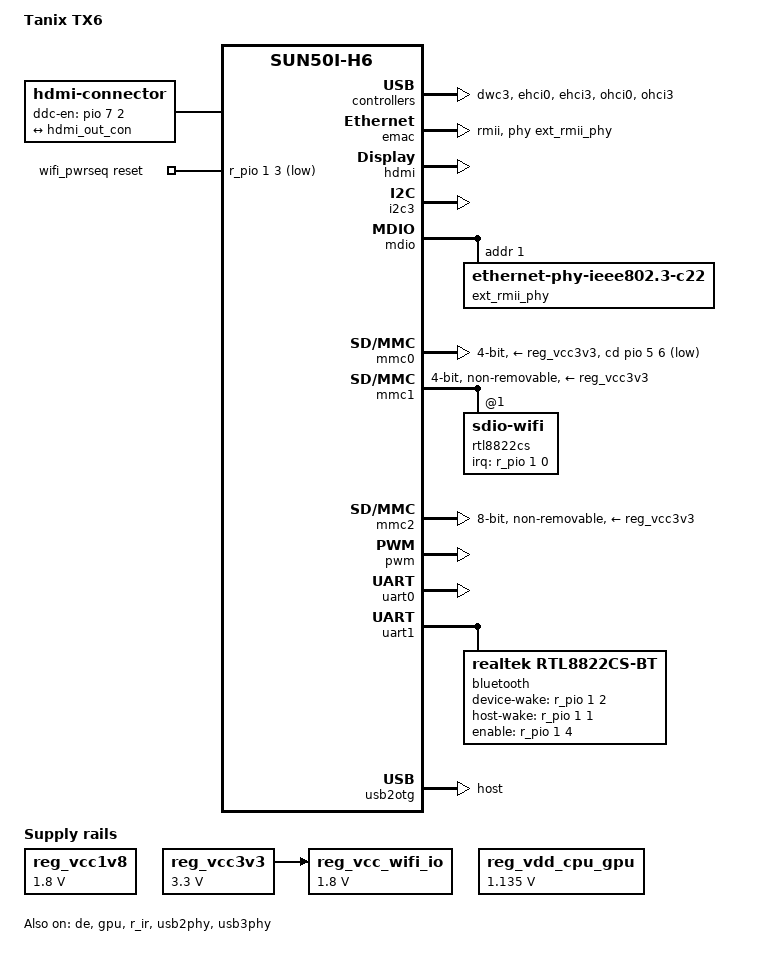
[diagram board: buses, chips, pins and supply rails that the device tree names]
// SPDX-License-Identifier: (GPL-2.0+ OR MIT)
// Copyright (c) 2019 Jernej Skrabec <jernej.skrabec@siol.net>

/dts-v1/;

#include "sun50i-h6.dtsi"
#include "sun50i-h6-cpu-opp.dtsi"

#include <dt-bindings/gpio/gpio.h>

/ {
	model = "Tanix TX6";
	compatible = "oranth,tanix-tx6", "allwinner,sun50i-h6";

	aliases {
		ethernet0 = &emac;
		serial0 = &uart0;
	};

	chosen {
		stdout-path = "serial0:115200n8";
	};

	connector {
		compatible = "hdmi-connector";
		ddc-en-gpios = <&pio 7 2 GPIO_ACTIVE_HIGH>; /* PH2 */
		type = "a";

		port {
			hdmi_con_in: endpoint {
				remote-endpoint = <&hdmi_out_con>;
			};
		};
	};

	reg_vcc1v8: regulator-vcc1v8 {
		compatible = "regulator-fixed";
		regulator-name = "vcc1v8";
		regulator-min-microvolt = <1800000>;
		regulator-max-microvolt = <1800000>;
	};

	reg_vcc3v3: regulator-vcc3v3 {
		compatible = "regulator-fixed";
		regulator-name = "vcc3v3";
		regulator-min-microvolt = <3300000>;
		regulator-max-microvolt = <3300000>;
	};

	reg_vcc_wifi_io: vcc-wifi-io {
		/* Always on 1.8V/300mA regulator for WiFi and BT IO */
		compatible = "regulator-fixed";
		regulator-name = "vcc-wifi-io";
		regulator-min-microvolt = <1800000>;
		regulator-max-microvolt = <1800000>;
		regulator-always-on;
		vin-supply = <&reg_vcc3v3>;
	};

	reg_vdd_cpu_gpu: regulator-vdd-cpu-gpu {
		compatible = "regulator-fixed";
		regulator-name = "vdd-cpu-gpu";
		regulator-min-microvolt = <1135000>;
		regulator-max-microvolt = <1135000>;
	};

	wifi_pwrseq: wifi-pwrseq {
		compatible = "mmc-pwrseq-simple";
		clocks = <&rtc 1>;
		clock-names = "ext_clock";
		reset-gpios = <&r_pio 1 3 GPIO_ACTIVE_LOW>; /* PM3 */
	};
};

&ac200_pwm_clk {
	status = "okay";
};

&cpu0 {
	cpu-supply = <&reg_vdd_cpu_gpu>;
};

&de {
	status = "okay";
};

&dwc3 {
	status = "okay";
};

&ehci0 {
	status = "okay";
};

&ehci3 {
	status = "okay";
};

&emac {
	pinctrl-names = "default";
	pinctrl-0 = <&ext_rmii_pins>;
	phy-mode = "rmii";
	phy-handle = <&ext_rmii_phy>;
	status = "okay";
};

&gpu {
	mali-supply = <&reg_vdd_cpu_gpu>;
	status = "okay";
};

&hdmi {
	status = "okay";
};

&hdmi_out {
	hdmi_out_con: endpoint {
		remote-endpoint = <&hdmi_con_in>;
	};
};

&i2c3 {
	status = "okay";
};

&mdio {
	ext_rmii_phy: ethernet-phy@1 {
		compatible = "ethernet-phy-ieee802.3-c22";
		reg = <1>;
	};
};

&mmc0 {
	pinctrl-names = "default";
	pinctrl-0 = <&mmc0_pins>;
	vmmc-supply = <&reg_vcc3v3>;
	cd-gpios = <&pio 5 6 GPIO_ACTIVE_LOW>;
	bus-width = <4>;
	status = "okay";
};

&mmc1 {
    vmmc-supply = <&reg_vcc3v3>;
    vqmmc-supply = <&reg_vcc_wifi_io>;
    mmc-pwrseq = <&wifi_pwrseq>;
    bus-width = <4>;
    non-removable;
    status = "okay";

    rtl8822cs: sdio-wifi@1 {
        reg = <1>;
        interrupt-parent = <&r_pio>;
        interrupts = <1 0 IRQ_TYPE_LEVEL_LOW>; /* PM0 */
        interrupt-names = "host-wake";
    };
};

&mmc2 {
	vmmc-supply = <&reg_vcc3v3>;
	vqmmc-supply = <&reg_vcc1v8>;
	bus-width = <8>;
	non-removable;
	cap-mmc-hw-reset;
	mmc-hs200-1_8v;
	status = "okay";
};

&ohci0 {
	status = "okay";
};

&ohci3 {
	status = "okay";
};

&pio {
	vcc-pc-supply = <&reg_vcc1v8>;
	vcc-pd-supply = <&reg_vcc3v3>;
	vcc-pg-supply = <&reg_vcc1v8>;
};

&pwm {
	status = "okay";
};

&r_ir {
	linux,rc-map-name = "rc-tanix-tx5max";
	status = "okay";
};

&uart0 {
	pinctrl-names = "default";
	pinctrl-0 = <&uart0_ph_pins>;
	status = "okay";
};

&uart1 {
	pinctrl-names = "default";
	pinctrl-0 = <&uart1_pins>, <&uart1_rts_cts_pins>;
	uart-has-rtscts;
	status = "okay";

	bluetooth {
		//use 8822cs compatible to load hci_h5 and btrtl driver
		compatible = "realtek,rtl8822cs-bt";
		device-wake-gpios = <&r_pio 1 2 GPIO_ACTIVE_HIGH>; /* PM2 */
		host-wake-gpios = <&r_pio 1 1 GPIO_ACTIVE_HIGH>; /* PM1 */
		enable-gpios = <&r_pio 1 4 GPIO_ACTIVE_HIGH>; /* PM4 */
	};
};

&usb2otg {
	dr_mode = "host";
	status = "okay";
};

&usb2phy {
	status = "okay";
};

&usb3phy {
	status = "okay";
};
